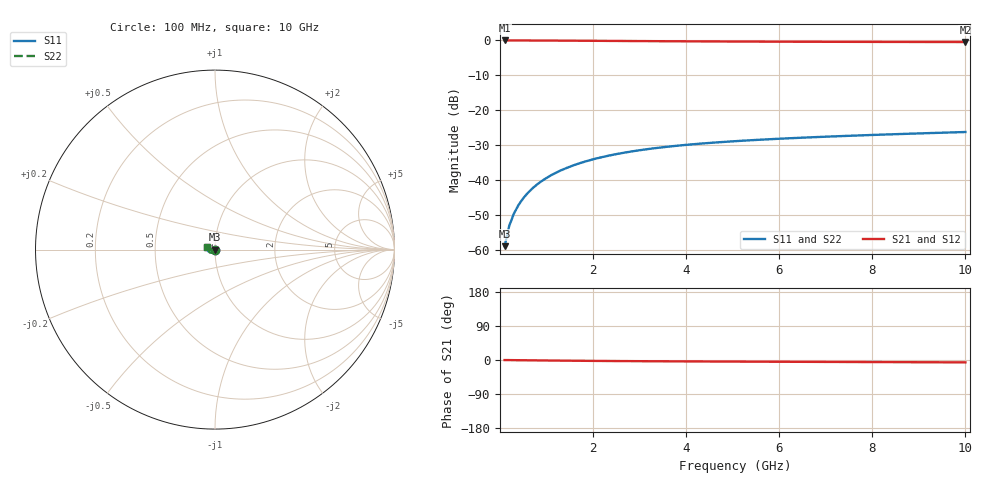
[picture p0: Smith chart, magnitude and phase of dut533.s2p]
! Touchstone file exported from HFSS 2024.1.0
!  File:  C:/UserFiles/LocalFiles/RDL_TSV_Batchsim/temp_TSV1_533_1779704657.aedt
!  Generated:  06:31:23 PM May 25, 2026
!  Design:  TSV1
!  Project:  temp_TSV1_533_1779704657
!  Setup:  Setup1
!  Solution:  Sweep
! Variables:
!  dtsv = 7.79um
!  hbump = 3um
!  htsv = 98.83um
!  lrdl = 252.1521522um
!  p = 40
!  p1 = 48.92um
!  t = 500um
!  trdl = 3um
!  wrdl = 24.89489489um
# GHz S MA R 50.000000
! Terminal data exported
! Port[1] = TSV22_T1
! Port[2] = TSV22_T2
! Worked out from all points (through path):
!   100 points, 100 MHz to 10 GHz, reference 50 ohm
!   highest |S21| = 0.00 dB at 100 MHz (marker M1); lowest = -0.5 dB at 10 GHz (marker M2)
!   lowest |S11| = -59.0 dB at 100 MHz (marker M3), VSWR 1.00, Z = 50 - j0.109 ohm
!   |S11| at or under -10 dB: start of sweep to end of sweep
!   |S22| runs from -59.0 to -26.3 dB; largest |S21 - S12| = 4.2e-15
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0.1  0.001119 -77.8  0.9997 -0.1  0.9997 -0.1  0.001119 -77.8
! Gamma 0 0 0 0
! Port Impedance 50 0 50 0
0.2  0.002199 -86.4  0.9996 -0.3  0.9996 -0.3  0.002199 -86.4
0.3  0.003287 -90.6  0.9994 -0.4  0.9994 -0.4  0.003287 -90.6
0.4  0.004372 -93.7  0.9991 -0.5  0.9991 -0.5  0.004372 -93.7
0.5  0.005449 -96.3  0.9988 -0.7  0.9988 -0.7  0.005449 -96.3
0.6  0.006517 -98.6  0.9984 -0.8  0.9984 -0.8  0.006517 -98.6
0.7  0.007573 -100.8  0.9979 -0.9  0.9979 -0.9  0.007573 -100.8
0.8  0.008616 -102.9  0.9974 -1.0  0.9974 -1.0  0.008616 -102.9
0.9  0.009644 -104.9  0.9969 -1.2  0.9969 -1.2  0.009644 -104.9
1.1  0.01165 -108.8  0.9956 -1.4  0.9956 -1.4  0.01165 -108.8
1.4  0.01452 -114.3  0.9934 -1.7  0.9934 -1.7  0.01452 -114.3
1.6  0.01633 -117.7  0.9917 -2.0  0.9917 -2.0  0.01633 -117.7
1.8  0.01806 -121.1  0.99 -2.2  0.99 -2.2  0.01806 -121.1
2.1  0.02048 -125.9  0.9873 -2.4  0.9873 -2.4  0.02048 -125.9
2.5  0.02341 -131.9  0.9837 -2.8  0.9837 -2.8  0.02341 -131.9
2.9  0.02601 -137.5  0.9801 -3.0  0.9801 -3.0  0.02601 -137.5
3.4  0.02886 -143.9  0.9759 -3.4  0.9759 -3.4  0.02886 -143.9
4.2  0.03264 -153.1  0.97 -3.8  0.97 -3.8  0.03264 -153.1
5.1  0.03606 -161.9  0.9645 -4.2  0.9645 -4.2  0.03606 -161.9
6.7  0.04084 -175.0  0.9574 -4.9  0.9574 -4.9  0.04084 -175.0
8.4  0.04501 173.9  0.9524 -5.6  0.9524 -5.6  0.04501 173.9
10  0.04858 165.1  0.949 -6.3  0.949 -6.3  0.04858 165.1
